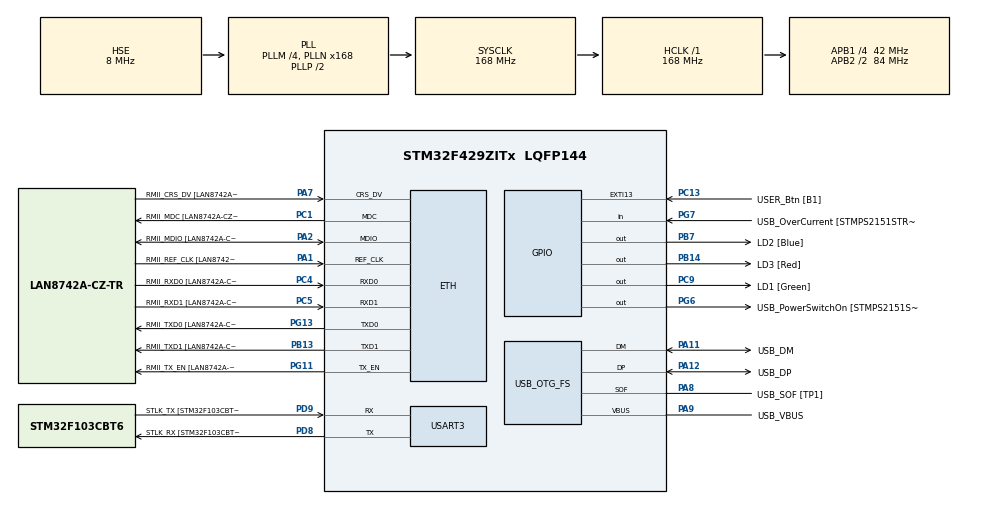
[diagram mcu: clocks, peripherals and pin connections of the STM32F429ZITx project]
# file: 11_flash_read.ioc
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ETH.MediaInterface=ETH_MEDIA_INTERFACE_RMII
ETH.PHY_Name=LAN8742A_PHY_ADDRESS
ETH.PHY_Value=0
ETH.PhyAddress=0
Mcu.Family=STM32F4
Mcu.Name=STM32F429ZITx
Mcu.Package=LQFP144
NVIC.PriorityGroup=NVIC_PRIORITYGROUP_4
NVIC.USART3_IRQn=true\:0\:0\:false\:false\:true\:true\:true
PA1.GPIO_Label=RMII_REF_CLK [LAN8742A-CZ-TR_REFCLK0]
PA1.Mode=RMII
PA1.Signal=ETH_REF_CLK
PA10.GPIO_Label=USB_ID
PA10.Signal=USB_OTG_FS_ID
PA11.GPIO_Label=USB_DM
PA11.Mode=Device_Only
PA11.Signal=USB_OTG_FS_DM
PA12.GPIO_Label=USB_DP
PA12.Mode=Device_Only
PA12.Signal=USB_OTG_FS_DP
PA13.GPIO_Label=TMS
PA13.Mode=Serial_Wire
PA13.Signal=SYS_JTMS-SWDIO
PA14.GPIO_Label=TCK
PA14.Mode=Serial_Wire
PA14.Signal=SYS_JTCK-SWCLK
PA2.GPIO_Label=RMII_MDIO [LAN8742A-CZ-TR_MDIO]
PA2.Mode=RMII
PA2.Signal=ETH_MDIO
PA7.GPIO_Label=RMII_CRS_DV [LAN8742A-CZ-TR_CRS_DV]
PA7.Mode=RMII
PA7.Signal=ETH_CRS_DV
PA8.GPIO_Label=USB_SOF [TP1]
PA8.Mode=Activate_SOF_FS
PA8.Signal=USB_OTG_FS_SOF
PA9.GPIO_Label=USB_VBUS
PA9.Mode=Activate_VBUS
PA9.Signal=USB_OTG_FS_VBUS
PB13.GPIO_Label=RMII_TXD1 [LAN8742A-CZ-TR_TXD1]
PB13.Mode=RMII
PB13.Signal=ETH_TXD1
PB14.GPIO_Label=LD3 [Red]
PB14.Signal=GPIO_Output
PB7.GPIO_Label=LD2 [Blue]
PB7.Signal=GPIO_Output
PC1.GPIO_Label=RMII_MDC [LAN8742A-CZ-TR_MDC]
PC1.Mode=RMII
PC1.Signal=ETH_MDC
PC13.GPIO_Label=USER_Btn [B1]
PC13.Signal=GPXTI13
PC14/OSC32_IN.Mode=LSE-External-Oscillator
PC14/OSC32_IN.Signal=RCC_OSC32_IN
PC15/OSC32_OUT.Mode=LSE-External-Oscillator
PC15/OSC32_OUT.Signal=RCC_OSC32_OUT
PC4.GPIO_Label=RMII_RXD0 [LAN8742A-CZ-TR_RXD0]
PC4.Mode=RMII
PC4.Signal=ETH_RXD0
PC5.GPIO_Label=RMII_RXD1 [LAN8742A-CZ-TR_RXD1]
PC5.Mode=RMII
PC5.Signal=ETH_RXD1
PC9.GPIO_Label=LD1 [Green]
PC9.Signal=GPIO_Output
PD8.GPIO_Label=STLK_RX [STM32F103CBT6_PA3]
PD8.Mode=Asynchronous
PD8.Signal=USART3_TX
PD9.GPIO_Label=STLK_TX [STM32F103CBT6_PA2]
PD9.Mode=Asynchronous
PD9.Signal=USART3_RX
PG11.GPIO_Label=RMII_TX_EN [LAN8742A-CZ-TR_TXEN]
PG11.Mode=RMII
PG11.Signal=ETH_TX_EN
PG13.GPIO_Label=RMII_TXD0 [LAN8742A-CZ-TR_TXD0]
PG13.Mode=RMII
PG13.Signal=ETH_TXD0
PG6.GPIO_Label=USB_PowerSwitchOn [STMPS2151STR_EN]
PG6.Signal=GPIO_Output
PG7.GPIO_Label=USB_OverCurrent [STMPS2151STR_FAULT]
PG7.Signal=GPIO_Input
PH0/OSC_IN.GPIO_Label=MCO [STM32F103CBT6_PA8]
PH0/OSC_IN.Mode=HSE-External-Clock-Source
PH0/OSC_IN.Signal=RCC_OSC_IN
PH1/OSC_OUT.Mode=HSE-External-Clock-Source
PH1/OSC_OUT.Signal=RCC_OSC_OUT
ProjectManager.HeapSize=0x200
ProjectManager.StackSize=0x400
ProjectManager.TargetToolchain=STM32CubeIDE
RCC.48MHZClocksFreq_Value=48000000
RCC.AHBFreq_Value=168000000
RCC.APB1CLKDivider=RCC_HCLK_DIV4
RCC.APB1Freq_Value=42000000
RCC.APB1TimFreq_Value=84000000
RCC.APB2CLKDivider=RCC_HCLK_DIV2
RCC.APB2Freq_Value=84000000
RCC.APB2TimCLKDivider=2
RCC.APB2TimFreq_Value=168000000
RCC.CortexFreq_Value=168000000
RCC.HCLKFreq_Value=168000000
RCC.HSE_VALUE=8000000
RCC.HSI_VALUE=16000000
RCC.PLLM=4
RCC.PLLMUL=RCC_PLL_MUL9
RCC.PLLN=168
RCC.PLLQ=7
RCC.PRESCALERUSB=RCC_USBCLKSOURCE_PLL_DIV1_5
RCC.SYSCLKFreq_VALUE=168000000
RCC.SYSCLKSource=RCC_SYSCLKSOURCE_PLLCLK
RCC.SYSCLKSourceVirtual=RCC_SYSCLKSOURCE_PLLCLK
RCC.USBFreq_Value=48000000
RCC.VCOOutputFreq_Value=336000000
USART3.VirtualMode=VM_ASYNC
USB_OTG_FS.VirtualMode=Device_Only
board=NUCLEO-F429ZI

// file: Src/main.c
/* USER CODE BEGIN Header */
/**
  ******************************************************************************
  * @file           : main.c
  * @brief          : Main program body
  ******************************************************************************
  * @attention
  *
  * <h2><center>&copy; Copyright (c) 2020 STMicroelectronics.
  * All rights reserved.</center></h2>
  *
  * This software component is licensed by ST under BSD 3-Clause license,
  * the "License"; You may not use this file except in compliance with the
  * License. You may obtain a copy of the License at:
  *                        opensource.org/licenses/BSD-3-Clause
  *
  ******************************************************************************
  */
/* USER CODE END Header */

#include "main.h"

ETH_HandleTypeDef heth;

UART_HandleTypeDef huart3;

PCD_HandleTypeDef hpcd_USB_OTG_FS;

void SystemClock_Config(void);
static void MX_GPIO_Init(void);
static void MX_ETH_Init(void);
static void MX_USART3_UART_Init(void);
static void MX_USB_OTG_FS_PCD_Init(void);

/* USER CODE BEGIN 0 */
#define UART_BUF_LEN 30
#define START_ADDR (0x08100000)

char uart_buf[UART_BUF_LEN];
uint32_t * flash_addr,i,error_page,prog_addr;

#define ADDR_FLASH_SECTOR_0     ((uint32_t)0x08000000) /* Base @ of Sector 0, 16 Kbytes */
#define ADDR_FLASH_SECTOR_1     ((uint32_t)0x08004000) /* Base @ of Sector 1, 16 Kbytes */
#define ADDR_FLASH_SECTOR_2     ((uint32_t)0x08008000) /* Base @ of Sector 2, 16 Kbytes */
#define ADDR_FLASH_SECTOR_3     ((uint32_t)0x0800C000) /* Base @ of Sector 3, 16 Kbytes */
#define ADDR_FLASH_SECTOR_4     ((uint32_t)0x08010000) /* Base @ of Sector 4, 64 Kbytes */
#define ADDR_FLASH_SECTOR_5     ((uint32_t)0x08020000) /* Base @ of Sector 5, 128 Kbytes */
#define ADDR_FLASH_SECTOR_6     ((uint32_t)0x08040000) /* Base @ of Sector 6, 128 Kbytes */
#define ADDR_FLASH_SECTOR_7     ((uint32_t)0x08060000) /* Base @ of Sector 7, 128 Kbytes */
#define ADDR_FLASH_SECTOR_8     ((uint32_t)0x08080000) /* Base @ of Sector 8, 128 Kbytes */
#define ADDR_FLASH_SECTOR_9     ((uint32_t)0x080A0000) /* Base @ of Sector 9, 128 Kbytes */
#define ADDR_FLASH_SECTOR_10    ((uint32_t)0x080C0000) /* Base @ of Sector 10, 128 Kbytes */
#define ADDR_FLASH_SECTOR_11    ((uint32_t)0x080E0000) /* Base @ of Sector 11, 128 Kbytes */

/* Base address of the Flash sectors Bank 2 */
#define ADDR_FLASH_SECTOR_12     ((uint32_t)0x08100000) /* Base @ of Sector 0, 16 Kbytes */
#define ADDR_FLASH_SECTOR_13     ((uint32_t)0x08104000) /* Base @ of Sector 1, 16 Kbytes */
#define ADDR_FLASH_SECTOR_14     ((uint32_t)0x08108000) /* Base @ of Sector 2, 16 Kbytes */
#define ADDR_FLASH_SECTOR_15     ((uint32_t)0x0810C000) /* Base @ of Sector 3, 16 Kbytes */
#define ADDR_FLASH_SECTOR_16     ((uint32_t)0x08110000) /* Base @ of Sector 4, 64 Kbytes */
#define ADDR_FLASH_SECTOR_17     ((uint32_t)0x08120000) /* Base @ of Sector 5, 128 Kbytes */
#define ADDR_FLASH_SECTOR_18     ((uint32_t)0x08140000) /* Base @ of Sector 6, 128 Kbytes */
#define ADDR_FLASH_SECTOR_19     ((uint32_t)0x08160000) /* Base @ of Sector 7, 128 Kbytes */
#define ADDR_FLASH_SECTOR_20     ((uint32_t)0x08180000) /* Base @ of Sector 8, 128 Kbytes  */
#define ADDR_FLASH_SECTOR_21     ((uint32_t)0x081A0000) /* Base @ of Sector 9, 128 Kbytes  */
#define ADDR_FLASH_SECTOR_22     ((uint32_t)0x081C0000) /* Base @ of Sector 10, 128 Kbytes */
#define ADDR_FLASH_SECTOR_23     ((uint32_t)0x081E0000) /* Base @ of Sector 11, 128 Kbytes */

#define FLASH_USER_START_ADDR   ADDR_FLASH_SECTOR_3   /* Start @ of user Flash area */
#define FLASH_USER_END_ADDR     ADDR_FLASH_SECTOR_23  +  GetSectorSize(ADDR_FLASH_SECTOR_23) -1 /* End @ of user Flash area : sector start address + sector size -1 */

#define DATA_32                 ((uint32_t)0x12345678)

uint32_t FirstSector = 0, NbOfSectors = 0;
uint32_t Address = 0, SECTORError = 0;
__IO uint32_t data32 = 0 , MemoryProgramStatus = 0;

static FLASH_EraseInitTypeDef EraseInitStruct;

static uint32_t GetSector(uint32_t Address);
static uint32_t GetSectorSize(uint32_t Sector);

/* USER CODE END 0 */

int main(void)
{

  /* MCU Configuration--------------------------------------------------------*/

  /* Reset of all peripherals, Initializes the Flash interface and the Systick. */
  HAL_Init();

  /* Configure the system clock */
  SystemClock_Config();

  /* Initialize all configured peripherals */
  MX_GPIO_Init();
  MX_ETH_Init();
  MX_USART3_UART_Init();
  MX_USB_OTG_FS_PCD_Init();
  /* USER CODE BEGIN 2 */
#if 0
  memset(uart_buf,0,UART_BUF_LEN);
  sprintf(uart_buf,"page 0\r\n");
  HAL_UART_Transmit_IT(&huart3,uart_buf,sizeof(uart_buf));
  HAL_Delay(10);

  flash_addr = (uint32_t *)0x08000000;

  for(i=0;i<10;i++)
  {
    memset(uart_buf,0,UART_BUF_LEN);
    sprintf(uart_buf,"%08x => %08x\r\n", flash_addr, *(flash_addr));
    HAL_UART_Transmit_IT(&huart3,uart_buf,sizeof(uart_buf));
    HAL_Delay(10);
    flash_addr++;
  }

  memset(uart_buf,0,UART_BUF_LEN);
  sprintf(uart_buf,"\nbank2\r\n");
  HAL_UART_Transmit_IT(&huart3,uart_buf,sizeof(uart_buf));
  HAL_Delay(10);

  flash_addr = (uint32_t *)0x08100000;

  for(i=0;i<10;i++)
  {
    memset(uart_buf,0,UART_BUF_LEN);
    sprintf(uart_buf,"%08x => %08x\r\n", flash_addr, *(flash_addr));
    HAL_UART_Transmit_IT(&huart3,uart_buf,sizeof(uart_buf));
    HAL_Delay(10);
    flash_addr++;
  }
#endif
  HAL_FLASH_Unlock();

  /* Get the 1st sector to erase */
  FirstSector = GetSector(FLASH_USER_START_ADDR);
  /* Get the number of sector to erase from 1st sector*/
  NbOfSectors = GetSector(FLASH_USER_END_ADDR) - FirstSector + 1;
  /* Fill EraseInit structure*/
  EraseInitStruct.TypeErase     = FLASH_TYPEERASE_SECTORS;
  EraseInitStruct.VoltageRange  = FLASH_VOLTAGE_RANGE_3;
  EraseInitStruct.Sector        = FirstSector;
  EraseInitStruct.NbSectors     = NbOfSectors;

  if(HAL_FLASHEx_Erase(&EraseInitStruct, &SECTORError) != HAL_OK)
  {
	memset(uart_buf,0,UART_BUF_LEN);
	sprintf(uart_buf,"HAL_FLASHEx_Erase ERROR\r\n");
	HAL_UART_Transmit_IT(&huart3,uart_buf,sizeof(uart_buf));
	return -1;
  }

  Address = FLASH_USER_START_ADDR;

  while(Address < FLASH_USER_END_ADDR)
  {
    if(HAL_FLASH_Program(FLASH_TYPEPROGRAM_WORD, Address, DATA_32) == HAL_OK)
    {
      Address = Address + 4;
    }
   else
    {
		memset(uart_buf,0,UART_BUF_LEN);
		sprintf(uart_buf,"HAL_FLASH_Program ERROR\r\n");
		HAL_UART_Transmit_IT(&huart3,uart_buf,sizeof(uart_buf));
		return -1;
    }
  }

  HAL_FLASH_Lock();

  Address = FLASH_USER_START_ADDR;
  MemoryProgramStatus = 0x0;

  while(Address < FLASH_USER_END_ADDR)
  {
    data32 = *(__IO uint32_t *)Address;

    if (data32 != DATA_32)
    {
      MemoryProgramStatus++;
    }
    Address = Address + 4;
  }

  if(MemoryProgramStatus == 0)
  {
		memset(uart_buf,0,UART_BUF_LEN);
		sprintf(uart_buf,"No error detected\r\n");
		HAL_UART_Transmit_IT(&huart3,uart_buf,sizeof(uart_buf));
  }
  else
  {
		memset(uart_buf,0,UART_BUF_LEN);
		sprintf(uart_buf,"Error detected\r\n");
		HAL_UART_Transmit_IT(&huart3,uart_buf,sizeof(uart_buf));
  }

  /* USER CODE END 2 */

  /* Infinite loop */
  while (1)
  {

  }
}

void SystemClock_Config(void)
{
  RCC_OscInitTypeDef RCC_OscInitStruct = {0};
  RCC_ClkInitTypeDef RCC_ClkInitStruct = {0};

  /** Configure the main internal regulator output voltage
  */
  __HAL_RCC_PWR_CLK_ENABLE();
  __HAL_PWR_VOLTAGESCALING_CONFIG(PWR_REGULATOR_VOLTAGE_SCALE1);
  /** Initializes the CPU, AHB and APB busses clocks
  */
  RCC_OscInitStruct.OscillatorType = RCC_OSCILLATORTYPE_HSE;
  RCC_OscInitStruct.HSEState = RCC_HSE_BYPASS;
  RCC_OscInitStruct.PLL.PLLState = RCC_PLL_ON;
  RCC_OscInitStruct.PLL.PLLSource = RCC_PLLSOURCE_HSE;
  RCC_OscInitStruct.PLL.PLLM = 4;
  RCC_OscInitStruct.PLL.PLLN = 168;
  RCC_OscInitStruct.PLL.PLLP = RCC_PLLP_DIV2;
  RCC_OscInitStruct.PLL.PLLQ = 7;
  if (HAL_RCC_OscConfig(&RCC_OscInitStruct) != HAL_OK)
  {
    Error_Handler();
  }
  /** Initializes the CPU, AHB and APB busses clocks
  */
  RCC_ClkInitStruct.ClockType = RCC_CLOCKTYPE_HCLK|RCC_CLOCKTYPE_SYSCLK
                              |RCC_CLOCKTYPE_PCLK1|RCC_CLOCKTYPE_PCLK2;
  RCC_ClkInitStruct.SYSCLKSource = RCC_SYSCLKSOURCE_PLLCLK;
  RCC_ClkInitStruct.AHBCLKDivider = RCC_SYSCLK_DIV1;
  RCC_ClkInitStruct.APB1CLKDivider = RCC_HCLK_DIV4;
  RCC_ClkInitStruct.APB2CLKDivider = RCC_HCLK_DIV2;

  if (HAL_RCC_ClockConfig(&RCC_ClkInitStruct, FLASH_LATENCY_5) != HAL_OK)
  {
    Error_Handler();
  }
}

static uint32_t GetSector(uint32_t Address)
{
  uint32_t sector = 0;

  if((Address < ADDR_FLASH_SECTOR_1) && (Address >= ADDR_FLASH_SECTOR_0))
  {
    sector = FLASH_SECTOR_0;
  }
  else if((Address < ADDR_FLASH_SECTOR_2) && (Address >= ADDR_FLASH_SECTOR_1))
  {
    sector = FLASH_SECTOR_1;
  }
  else if((Address < ADDR_FLASH_SECTOR_3) && (Address >= ADDR_FLASH_SECTOR_2))
  {
    sector = FLASH_SECTOR_2;
  }
  else if((Address < ADDR_FLASH_SECTOR_4) && (Address >= ADDR_FLASH_SECTOR_3))
  {
    sector = FLASH_SECTOR_3;
  }
  else if((Address < ADDR_FLASH_SECTOR_5) && (Address >= ADDR_FLASH_SECTOR_4))
  {
    sector = FLASH_SECTOR_4;
  }
  else if((Address < ADDR_FLASH_SECTOR_6) && (Address >= ADDR_FLASH_SECTOR_5))
  {
    sector = FLASH_SECTOR_5;
  }
  else if((Address < ADDR_FLASH_SECTOR_7) && (Address >= ADDR_FLASH_SECTOR_6))
  {
    sector = FLASH_SECTOR_6;
  }
  else /* (Address < FLASH_END_ADDR) && (Address >= ADDR_FLASH_SECTOR_7) */
  {
    sector = FLASH_SECTOR_7;
  }
  return sector;
}
static uint32_t GetSectorSize(uint32_t Sector)
{
  uint32_t sectorsize = 0x00;
  if((Sector == FLASH_SECTOR_0) || (Sector == FLASH_SECTOR_1) || (Sector == FLASH_SECTOR_2) || (Sector == FLASH_SECTOR_3))
  {
    sectorsize = 16 * 1024;
  }
  else if(Sector == FLASH_SECTOR_4)
  {
    sectorsize = 64 * 1024;
  }
  else
  {
    sectorsize = 128 * 1024;
  }
  return sectorsize;
}

static void MX_ETH_Init(void)
{

   uint8_t MACAddr[6] ;

  heth.Instance = ETH;
  heth.Init.AutoNegotiation = ETH_AUTONEGOTIATION_ENABLE;
  heth.Init.PhyAddress = LAN8742A_PHY_ADDRESS;
  MACAddr[0] = 0x00;
  MACAddr[1] = 0x80;
  MACAddr[2] = 0xE1;
  MACAddr[3] = 0x00;
  MACAddr[4] = 0x00;
  MACAddr[5] = 0x00;
  heth.Init.MACAddr = &MACAddr[0];
  heth.Init.RxMode = ETH_RXPOLLING_MODE;
  heth.Init.ChecksumMode = ETH_CHECKSUM_BY_HARDWARE;
  heth.Init.MediaInterface = ETH_MEDIA_INTERFACE_RMII;

  if (HAL_ETH_Init(&heth) != HAL_OK)
  {
    Error_Handler();
  }

}

static void MX_USART3_UART_Init(void)
{

  huart3.Instance = USART3;
  huart3.Init.BaudRate = 115200;
  huart3.Init.WordLength = UART_WORDLENGTH_8B;
  huart3.Init.StopBits = UART_STOPBITS_1;
  huart3.Init.Parity = UART_PARITY_NONE;
  huart3.Init.Mode = UART_MODE_TX_RX;
  huart3.Init.HwFlowCtl = UART_HWCONTROL_NONE;
  huart3.Init.OverSampling = UART_OVERSAMPLING_16;
  if (HAL_UART_Init(&huart3) != HAL_OK)
  {
    Error_Handler();
  }

}

static void MX_USB_OTG_FS_PCD_Init(void)
{

  hpcd_USB_OTG_FS.Instance = USB_OTG_FS;
  hpcd_USB_OTG_FS.Init.dev_endpoints = 4;
  hpcd_USB_OTG_FS.Init.speed = PCD_SPEED_FULL;
  hpcd_USB_OTG_FS.Init.dma_enable = DISABLE;
  hpcd_USB_OTG_FS.Init.phy_itface = PCD_PHY_EMBEDDED;
  hpcd_USB_OTG_FS.Init.Sof_enable = ENABLE;
  hpcd_USB_OTG_FS.Init.low_power_enable = DISABLE;
  hpcd_USB_OTG_FS.Init.lpm_enable = DISABLE;
  hpcd_USB_OTG_FS.Init.vbus_sensing_enable = ENABLE;
  hpcd_USB_OTG_FS.Init.use_dedicated_ep1 = DISABLE;
  if (HAL_PCD_Init(&hpcd_USB_OTG_FS) != HAL_OK)
  {
    Error_Handler();
  }

}

static void MX_GPIO_Init(void)
{
  GPIO_InitTypeDef GPIO_InitStruct = {0};

  /* GPIO Ports Clock Enable */
  __HAL_RCC_GPIOC_CLK_ENABLE();
  __HAL_RCC_GPIOH_CLK_ENABLE();
  __HAL_RCC_GPIOA_CLK_ENABLE();
  __HAL_RCC_GPIOB_CLK_ENABLE();
  __HAL_RCC_GPIOD_CLK_ENABLE();
  __HAL_RCC_GPIOG_CLK_ENABLE();

  /*Configure GPIO pin Output Level */
  HAL_GPIO_WritePin(GPIOB, LD3_Pin|LD2_Pin, GPIO_PIN_RESET);

  /*Configure GPIO pin Output Level */
  HAL_GPIO_WritePin(USB_PowerSwitchOn_GPIO_Port, USB_PowerSwitchOn_Pin, GPIO_PIN_RESET);

  /*Configure GPIO pin Output Level */
  HAL_GPIO_WritePin(LD1_GPIO_Port, LD1_Pin, GPIO_PIN_RESET);

  /*Configure GPIO pin : USER_Btn_Pin */
  GPIO_InitStruct.Pin = USER_Btn_Pin;
  GPIO_InitStruct.Mode = GPIO_MODE_IT_RISING;
  GPIO_InitStruct.Pull = GPIO_NOPULL;
  HAL_GPIO_Init(USER_Btn_GPIO_Port, &GPIO_InitStruct);

  /*Configure GPIO pins : LD3_Pin LD2_Pin */
  GPIO_InitStruct.Pin = LD3_Pin|LD2_Pin;
  GPIO_InitStruct.Mode = GPIO_MODE_OUTPUT_PP;
  GPIO_InitStruct.Pull = GPIO_NOPULL;
  GPIO_InitStruct.Speed = GPIO_SPEED_FREQ_LOW;
  HAL_GPIO_Init(GPIOB, &GPIO_InitStruct);

  /*Configure GPIO pin : USB_PowerSwitchOn_Pin */
  GPIO_InitStruct.Pin = USB_PowerSwitchOn_Pin;
  GPIO_InitStruct.Mode = GPIO_MODE_OUTPUT_PP;
  GPIO_InitStruct.Pull = GPIO_NOPULL;
  GPIO_InitStruct.Speed = GPIO_SPEED_FREQ_LOW;
  HAL_GPIO_Init(USB_PowerSwitchOn_GPIO_Port, &GPIO_InitStruct);

  /*Configure GPIO pin : USB_OverCurrent_Pin */
  GPIO_InitStruct.Pin = USB_OverCurrent_Pin;
  GPIO_InitStruct.Mode = GPIO_MODE_INPUT;
  GPIO_InitStruct.Pull = GPIO_NOPULL;
  HAL_GPIO_Init(USB_OverCurrent_GPIO_Port, &GPIO_InitStruct);

  /*Configure GPIO pin : LD1_Pin */
  GPIO_InitStruct.Pin = LD1_Pin;
  GPIO_InitStruct.Mode = GPIO_MODE_OUTPUT_PP;
  GPIO_InitStruct.Pull = GPIO_NOPULL;
  GPIO_InitStruct.Speed = GPIO_SPEED_FREQ_LOW;
  HAL_GPIO_Init(LD1_GPIO_Port, &GPIO_InitStruct);

}

void Error_Handler(void)
{
}

/************************ (C) COPYRIGHT STMicroelectronics *****END OF FILE****/
